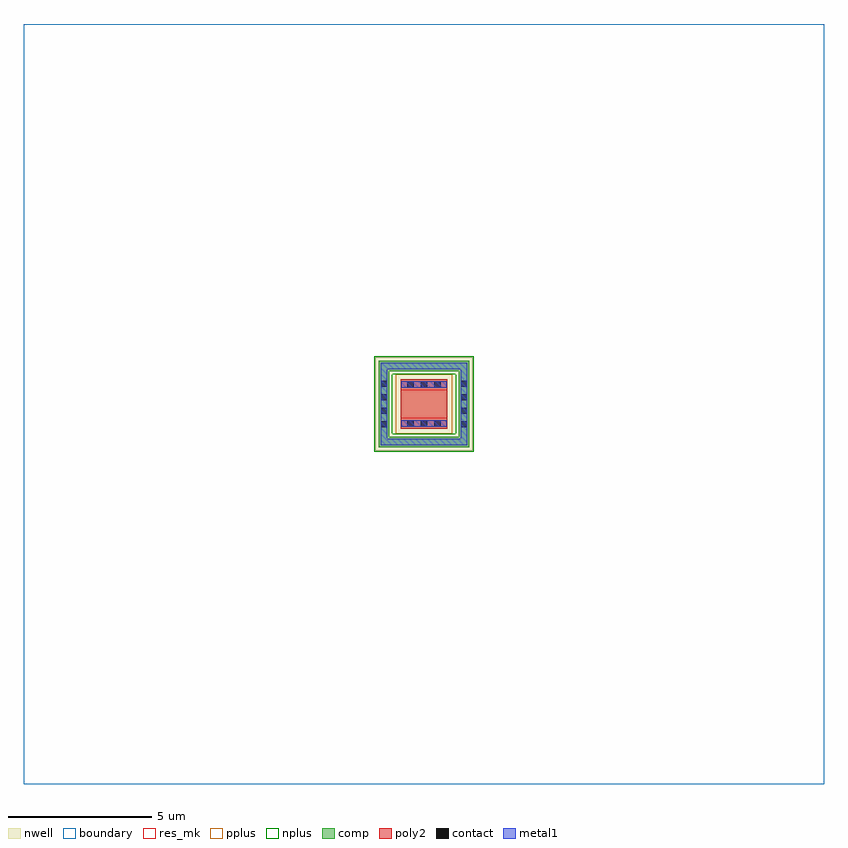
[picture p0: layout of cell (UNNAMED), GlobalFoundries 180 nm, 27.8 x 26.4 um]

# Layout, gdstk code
import gdstk
lib = gdstk.Library(unit=1e-6, precision=1e-09)
def R(c, l, rs):  # rectangles x0, y0, x1, y1
    for r in rs: c.add(gdstk.rectangle(r[:2], r[2:], *l))
def A(c, l, x, y, w, h, nx, ny, dx, dy):  # array of equal rectangles
    R(c, l, [(x+i*dx, y+j*dy, x+i*dx+w, y+j*dy+h) for i in range(nx) for j in range(ny)])
boundary = (0, 0)
nwell = (21, 0)
comp = (22, 0)
poly2 = (30, 0)
pplus = (31, 0)
nplus = (32, 0)
contact = (33, 0)
metal1 = (34, 0)
res_mk = (110, 5)

c__unnamed_ = lib.new_cell('(UNNAMED)')
R(c__unnamed_, boundary, [(-13.9,-13.2,13.9,13.2)])
R(c__unnamed_, nwell, [(-1.69,-1.62,1.69,1.62)])
R(c__unnamed_, comp, [(-1.57,-1.5,1.57,-1.14), (-1.57,-1.14,-1.21,1.14), (1.21,-1.14,1.57,1.14), (-1.57,1.14,1.57,1.5)])
R(c__unnamed_, poly2, [(-0.8,-0.86,0.8,0.86)])
R(c__unnamed_, pplus, [(-0.98,-1.04,0.98,1.04)])
R(c__unnamed_, nplus, [(-1.73,-1.66,1.73,-1.03), (-1.73,-1.03,-1.1,1.03), (1.1,-1.03,1.73,1.03), (-1.73,1.03,1.73,1.66)])
A(c__unnamed_, contact, -1.5, -0.815, 0.22, 0.22, 1, 4, 0, 0.47)
A(c__unnamed_, contact, 1.28, -0.815, 0.22, 0.22, 1, 4, 0, 0.47)
A(c__unnamed_, contact, -0.58, -0.79, 0.22, 0.22, 3, 2, 0.47, 1.36)
R(c__unnamed_, metal1, [(-1.505,-1.435,1.505,-1.205), (-1.505,-1.205,-1.275,1.205), (1.275,-1.205,1.505,1.205), (-0.79,-0.795,0.79,-0.565), (-0.79,0.565,0.79,0.795), (-1.505,1.205,1.505,1.435)])
R(c__unnamed_, res_mk, [(-0.8,-0.5,0.8,0.5)])

lib.write_gds('_UNNAMED_.gds')
